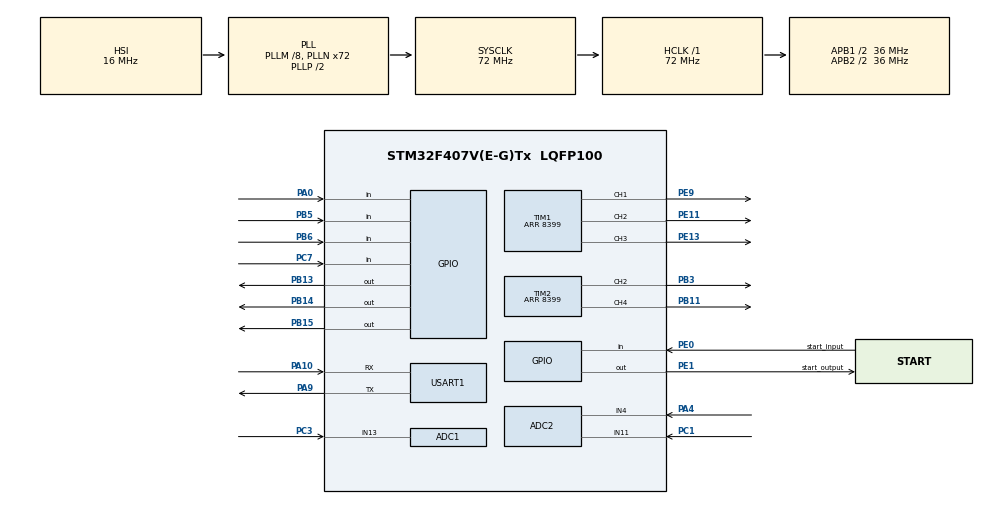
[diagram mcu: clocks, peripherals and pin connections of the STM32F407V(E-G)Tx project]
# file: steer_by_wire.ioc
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Mcu.Family=STM32F4
PH0-OSC_IN.Signal=RCC_OSC_IN
RCC.CortexFreq_Value=72000000
ADC2.SamplingTime-1\#ChannelRegularConversion=ADC_SAMPLETIME_3CYCLES
TIM2.Channel-PWM\ Generation2\ CH2=TIM_CHANNEL_2
PB11.Signal=S_TIM2_CH4
PB13.Signal=GPIO_Output
PB15.Signal=GPIO_Output
RCC.SYSCLKSource=RCC_SYSCLKSOURCE_PLLCLK
ProjectManager.StackSize=0x400
NVIC.ADC_IRQn=true\:0\:0\:false\:false\:true\:true\:true
RCC.HCLKFreq_Value=72000000
RCC.APB2TimFreq_Value=72000000
PB6.Signal=GPIO_Input
PC7.Signal=GPIO_Input
PC3.Signal=ADCx_IN13
PE1.Signal=GPIO_Output
RCC.AHBFreq_Value=72000000
PH0-OSC_IN.Mode=HSE-External-Oscillator
Dma.USART1_RX.0.Priority=DMA_PRIORITY_LOW
RCC.HSE_VALUE=25000000
PE13.Signal=S_TIM1_CH3
PC14-OSC32_IN.Mode=LSE-External-Oscillator
TIM1.Channel-PWM\ Generation1\ CH1=TIM_CHANNEL_1
PE9.Signal=S_TIM1_CH1
Dma.USART1_RX.0.MemInc=DMA_MINC_ENABLE
VP_TIM1_VS_ClockSourceINT.Mode=Internal
PH1-OSC_OUT.Mode=HSE-External-Oscillator
Mcu.Package=LQFP100
ADC2.Channel-1\#ChannelRegularConversion=ADC_CHANNEL_11
PA10.Signal=USART1_RX
PE0.GPIO_Label=start_input
Dma.USART1_RX.0.FIFOMode=DMA_FIFOMODE_DISABLE
RCC.APB2CLKDivider=RCC_HCLK_DIV2
NVIC.DMA2_Stream2_IRQn=true\:0\:0\:false\:false\:true\:false\:true
RCC.APB1TimFreq_Value=72000000
Dma.USART1_RX.0.Mode=DMA_CIRCULAR
TIM1.Period=8399
Dma.Request0=USART1_RX
Dma.USART1_RX.0.Instance=DMA2_Stream2
PC15-OSC32_OUT.Mode=LSE-External-Oscillator
TIM2.Channel-PWM\ Generation4\ CH4=TIM_CHANNEL_4
SH.ADCx_IN13.0=ADC1_IN13,IN13
Dma.USART1_RX.0.PeriphDataAlignment=DMA_PDATAALIGN_BYTE
PA10.Mode=Asynchronous
RCC.APB1CLKDivider=RCC_HCLK_DIV2
PC14-OSC32_IN.Signal=RCC_OSC32_IN
PA0-WKUP.Signal=GPIO_Input
TIM1.AutoReloadPreload=TIM_AUTORELOAD_PRELOAD_ENABLE
SH.S_TIM2_CH2.0=TIM2_CH2,PWM Generation2 CH2
PA9.Mode=Asynchronous
SH.S_TIM1_CH1.0=TIM1_CH1,PWM Generation1 CH1
ProjectManager.TargetToolchain=STM32CubeIDE
Dma.USART1_RX.0.Direction=DMA_PERIPH_TO_MEMORY
PA9.Signal=USART1_TX
TIM1.Channel-PWM\ Generation2\ CH2=TIM_CHANNEL_2
PE11.Signal=S_TIM1_CH2
PC15-OSC32_OUT.Signal=RCC_OSC32_OUT
Dma.USART1_RX.0.PeriphInc=DMA_PINC_DISABLE
PB14.Signal=GPIO_Output
board=custom
RCC.VCOOutputFreq_Value=144000000
PE1.GPIO_Label=start_output
RCC.APB2Freq_Value=36000000
SH.ADCx_IN11.1=ADC2_IN11,IN11
SH.ADCx_IN11.0=ADC1_IN11
SH.S_TIM1_CH2.0=TIM1_CH2,PWM Generation2 CH2
PH1-OSC_OUT.Signal=RCC_OSC_OUT
Dma.USART1_RX.0.MemDataAlignment=DMA_MDATAALIGN_BYTE
SH.ADCx_IN4.0=ADC2_IN4,IN4
TIM2.Period=8399
ADC1.Rank-9\#ChannelRegularConversion=1
PE0.Signal=GPIO_Input
Mcu.Name=STM32F407V(E-G)Tx
ADC1.Channel-9\#ChannelRegularConversion=ADC_CHANNEL_13
RCC.48MHZClocksFreq_Value=36000000
PB3.Signal=S_TIM2_CH2
PA4.Signal=ADCx_IN4
RCC.SYSCLKFreq_VALUE=72000000
PB5.Signal=GPIO_Input
ADC1.master=1
ADC2.NbrOfConversionFlag=1
USART1.VirtualMode=VM_ASYNC
ProjectManager.HeapSize=0x200
SH.S_TIM2_CH4.0=TIM2_CH4,PWM Generation4 CH4
SH.S_TIM1_CH3.0=TIM1_CH3,PWM Generation3 CH3
RCC.HSI_VALUE=16000000
NVIC.PriorityGroup=NVIC_PRIORITYGROUP_4
ADC1.NbrOfConversionFlag=1
RCC.PLLM=8
RCC.PLLN=72
ADC2.Rank-1\#ChannelRegularConversion=1
ADC1.SamplingTime-9\#ChannelRegularConversion=ADC_SAMPLETIME_3CYCLES
TIM1.Channel-PWM\ Generation3\ CH3=TIM_CHANNEL_3
RCC.APB1Freq_Value=36000000
PC1.Signal=ADCx_IN11

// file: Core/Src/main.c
/* USER CODE BEGIN Header */
/**
  ******************************************************************************
  * @file           : main.c
  * @brief          : Main program body
  ******************************************************************************
  * @attention
  *
  * <h2><center>&copy; Copyright (c) 2021 STMicroelectronics.
  * All rights reserved.</center></h2>
  *
  * This software component is licensed by ST under BSD 3-Clause license,
  * the "License"; You may not use this file except in compliance with the
  * License. You may obtain a copy of the License at:
  *                        opensource.org/licenses/BSD-3-Clause
  *
  ******************************************************************************
  */
/* USER CODE END Header */
#include "main.h"

/* USER CODE BEGIN Includes */

#include <stdio.h>
#include <stdlib.h>
#include <memory.h>
#include <string.h>
//#include "MY_NRF24.h"

/* USER CODE END Includes */

/* USER CODE BEGIN PD */

#define PID_KP  2.0f
#define PID_KI  0.5f
#define PID_KD  0.25f

#define PID_TAU 0.02f

#define PID_LIM_MIN   -1000.0f
#define PID_LIM_MAX   1000.0f

#define PID_LIM_MIN_T   0.0f
#define PID_LIM_MAX_T   1000.0f

#define PID_LIM_MIN_INT -5.0f
#define PID_LIM_MAX_INT  5.0f

#define SAMPLE_TIME_S 0.01f

typedef struct {

	/* Controller gains */
	float Kp;
	float Ki;
	float Kd;

	/* Derivative low-pass filter time constant */
	float tau;

	/* Output limits */
	float limMin;
	float limMax;

	/* Integrator limits */
	float limMinInt;
	float limMaxInt;

	/* Sample time (in seconds) */
	float T;

	/* Controller "memory" */
	float integrator;
	float prevError;			/* Required for integrator */
	float differentiator;
	float prevMeasurement;		/* Required for differentiator */

	/* Controller output */
	float out;

} PID;

uint8_t steer_package[2] = {0};
uint16_t motion_flag = 0;
uint16_t velocity_cmd = 0;
uint8_t crc_package[2] = {0};
volatile uint8_t  UART1_rxBuffer[12]  = {0};
volatile uint16_t adc_buffer[3] = {0};
uint16_t steer_cmd = 500;
uint16_t brake_cmd = 0;
uint16_t brake_medium_cmd = 625;

float pwm = 0;
float pwm_throttle =0;
uint16_t pwm_throttle_m =0;
uint16_t pwm_m = 0;
uint16_t pwm_m_brake = 0;
uint16_t current_pos = 0;
uint16_t current_brake_pos = 0;
uint8_t direction = 0;
uint16_t adc_val = 0;
uint16_t adc_thr = 0;
uint16_t adc_brake = 0;
uint8_t gear = 1; //1 ileri 0 geri
uint8_t brake = 0; //0 fren yok 1 var
uint16_t current_velocity = 0;

uint8_t flag_start = 0;
uint8_t flag_start_btn = 0;

GPIO_PinState state;
GPIO_PinState state1;
GPIO_PinState start;
GPIO_PinState start_button;
GPIO_PinState gear_manuel;
uint8_t rxdata[4] = {0};
uint8_t emergency_stop = 0;
uint8_t counter = 0;
uint16_t throttle = 0;
uint16_t forward_vel = 0;

/* USER CODE END PD */

ADC_HandleTypeDef hadc1;
ADC_HandleTypeDef hadc2;

TIM_HandleTypeDef htim1;
TIM_HandleTypeDef htim2;

UART_HandleTypeDef huart1;
DMA_HandleTypeDef hdma_usart1_rx;

void SystemClock_Config(void);
static void MX_GPIO_Init(void);
static void MX_DMA_Init(void);
static void MX_TIM1_Init(void);
static void MX_USART1_UART_Init(void);
static void MX_ADC2_Init(void);
static void MX_ADC1_Init(void);
static void MX_TIM2_Init(void);
/* USER CODE BEGIN PFP */

void drive_right(uint16_t pwm);
void drive_left(uint16_t pwm);
void brake_push(uint16_t pwm);
void brake_pull(uint16_t pwm);
long map(long x, long in_min, long in_max, long out_min, long out_max);
float PID_update(PID *pid, float setpoint, float measurement);
void PID_init(PID *pid);

/* USER CODE END PFP */

/* USER CODE BEGIN 0 */

/*
uint64_t RxpipeAddrs = 0x11223344AA;
char myRxData[2];
char myAckPayload[32] = "Ack by STMF7!";
char check[2] = {'G','S'};

*/

/* USER CODE END 0 */

int main(void)
{

  /* MCU Configuration--------------------------------------------------------*/

  /* Reset of all peripherals, Initializes the Flash interface and the Systick. */
  HAL_Init();

  /* Configure the system clock */
  SystemClock_Config();

  /* Initialize all configured peripherals */
  MX_GPIO_Init();
  MX_DMA_Init();
  MX_TIM1_Init();
  MX_USART1_UART_Init();
  MX_ADC2_Init();
  MX_ADC1_Init();
  MX_TIM2_Init();
  /* USER CODE BEGIN 2 */

  PID steer_control = { PID_KP, PID_KI, PID_KD, PID_TAU,PID_LIM_MIN, PID_LIM_MAX,PID_LIM_MIN_INT, PID_LIM_MAX_INT,SAMPLE_TIME_S };

  PID brake_control = { 2.0f, PID_KI, 0.25f, PID_TAU,PID_LIM_MIN, PID_LIM_MAX,PID_LIM_MIN_INT, PID_LIM_MAX_INT,SAMPLE_TIME_S };

  PID throttle_control = { PID_KP, PID_KI, PID_KD, PID_TAU,PID_LIM_MIN_T, PID_LIM_MAX_T,PID_LIM_MIN_INT, PID_LIM_MAX_INT,SAMPLE_TIME_S };

  PID_init(&steer_control);
  PID_init(&brake_control);
  PID_init(&throttle_control);

  //HAL_UART_Receive_DMA(&huart1, (uint8_t*)rx_buffer, 3);

  HAL_TIM_PWM_Start(&htim1, TIM_CHANNEL_1);
  HAL_TIM_PWM_Start(&htim1, TIM_CHANNEL_2);
  HAL_TIM_PWM_Start(&htim1, TIM_CHANNEL_3);

  HAL_TIM_PWM_Start(&htim2, TIM_CHANNEL_4);
  HAL_TIM_PWM_Start(&htim2, TIM_CHANNEL_2);
/* kablosuz haberlesme */

  /*  NRF24_begin(GPIOD, CSN_Pin, CE_Pin, hspi1);
	nrf24_DebugUART_Init(huart2);

	printRadioSettings();

	NRF24_setAutoAck(true);
	NRF24_setChannel(79);
	NRF24_setPayloadSize(32);
	NRF24_openReadingPipe(1, RxpipeAddrs);
	NRF24_enableDynamicPayloads();
	NRF24_enableAckPayload();

	NRF24_startListening();
*/

  /* USER CODE END 2 */

  /* Infinite loop */
  /* USER CODE BEGIN WHILE */

  if (counter == 0){

  		  counter = counter + 1;
  		  TIM1 -> CCR3 = 2290;
  		  HAL_Delay(6000);

  	  }

  HAL_UART_Receive_DMA (&huart1, UART1_rxBuffer, 12);
  //HAL_UART_Receive_IT(&huart2, rxdata, 4);

  ADC_ChannelConfTypeDef sConfig = {0};
  start = GPIO_PIN_RESET;

  while (1)
  {

	  //ADC den lineer potun okunuşu ve maplenişi
	  HAL_ADC_Start_IT(&hadc1);
	  HAL_ADC_Start_IT(&hadc2);
	  state1 = HAL_GPIO_ReadPin(GPIOE, GPIO_PIN_0);
	  //state1 = HAL_GPIO_ReadPin(GPIOB, GPIO_PIN_7);
	  //state = GPIO_PIN_RESET;
	  //state1 = GPIO_PIN_SET;
	  //HAL_UART_Transmit(&huart1, (uint16_t *)current_velocity, 2, 10); // alınan encoder verisi burada kontrol bilgisayarına iletiliyor.
//	  start_button = HAL_GPIO_ReadPin(GPIOE, GPIO_PIN_0);
//	  if( start_button == GPIO_PIN_RESET ){
//	 		  flag_start_btn = 1;
//	 		  if(flag_start == 0){
//	 		  start = GPIO_PIN_SET;}
//	 		  else {
//	 			  start = GPIO_PIN_RESET;
//	 		  }
//	 	  }
//	 	  else
//	 	  {
//	 		  if (flag_start_btn == 1)
//	 		  {
//	 			  if(flag_start == 0){ flag_start = 1;}
//	 			  else {flag_start = 0;}
//	 			  flag_start_btn = 0;
//	 		  }
//	 	  }
//	  HAL_GPIO_WritePin(GPIOE,GPIO_PIN_1,start);

	  current_pos = map(adc_val,495,3350,0,1000);
	  current_brake_pos = map(adc_brake,442,4096,0,1000);

	  //pwm update işleminin yapılması ve motorların buna göre sürülmesi

	  //kablosuzdan gelen dur ve git komutları
	  /*if(NRF24_available())
	  		{
	  			NRF24_read(myRxData, 32);
	  			NRF24_writeAckPayload(1, myAckPayload, 32);
	  			myRxData[32] = '\r';
	  			myRxData[32+1] = '\n';
	  			HAL_UART_Transmit(&huart2, (uint8_t *)myRxData, 32+2, 10);

	  			if(myRxData[0]==check[0]){
	  				uint8_t emergency_stop = 0;
	  			}
	  			else if(myRxData[0]==check[1]){
	  			    emergency_stop = 1;
	  				//HAL_GPIO_WritePin(GPIOB, GPIO_PIN_14,GPIO_PIN_SET);//frene bas
	  				//HAL_GPIO_WritePin(GPIOB, GPIO_PIN_13,GPIO_PIN_RESET);

	  				TIM1->CCR3 = 0;//gazı kes
	  			    TIM2->CCR1 = 8399;
	  				TIM2->CCR2 = 0;
	  				emergency_stop = 1;
	  				velocity_cmd = 0;
	  			}

	  		}*/

	  if(state1)
	  {
		  if(velocity_cmd == 0){

			  motion_flag = 0;
		  		  throttle = 2250;
		  		  TIM1->CCR3 = throttle;
		  		  //TIM2->CCR4 = 8399;

		  		  //buraya throttle için kullanacağın pwm i sıfırla aynı anda gaz fren yapılmaz :D
		  		  //HAL_GPIO_WritePin(GPIOB, GPIO_PIN_14,GPIO_PIN_SET);
		  		  //HAL_GPIO_WritePin(GPIOB, GPIO_PIN_13,GPIO_PIN_RESET);// brake aktüatörüne bağlı mosfeti aktif hale getirerek frene basılmasını sağla
		  		  TIM2->CCR4 = 0;
		  		  TIM2->CCR2 = 8399;
		  	  }

		  //HAL_UART_Receive_DMA (&huart1, UART1_rxBuffer, 12);
		  sConfig.Channel = ADC_CHANNEL_4;
		  		  	  sConfig.Rank = 1;
		  		  	  sConfig.SamplingTime = ADC_SAMPLETIME_3CYCLES;
		  		  	  if (HAL_ADC_ConfigChannel(&hadc2, &sConfig) != HAL_OK)
		  		  	  {
		  		  	    Error_Handler();
		  		  	  }

	  pwm = PID_update(&steer_control, steer_cmd, current_pos);

	  pwm_m = abs(pwm);

	  pwm_m = map(pwm_m,0,1000,0,8399);

	    	  if(pwm > 0){

	    		  drive_right(pwm_m);

	    	  }
	    	  else{

	    		  drive_left(pwm_m);

	    	  }

//	  pwm = PID_update(&brake_control, brake_cmd, current_brake_pos);
//
//	  pwm_m_brake = abs(pwm);
//
//	  pwm_m_brake = map(pwm_m_brake,0,1000,0,8399);
//
//	    	  if(pwm > 0){
//
//	    		  brake_push(pwm_m_brake);
//
//	    	  }
//	    	  else{
//
//	    		  brake_pull(pwm_m_brake);
//
//	    	  }

  	  forward_vel = parse_velocity_cmd(velocity_cmd);

	  }
	  if((emergency_stop!=1) & (state1 == 1) & velocity_cmd != 0){

		  //HAL_GPIO_WritePin(GPIOB, GPIO_PIN_14,GPIO_PIN_RESET);// brake i deaktive et
		  //HAL_GPIO_WritePin(GPIOB, GPIO_PIN_13,GPIO_PIN_SET);
		  //TIM2->CCR1 = 0;
		  //TIM2->CCR2 = 8399;
		  if(motion_flag < 48000)
		  {
		  	  brake_cmd = 0;
		  	  motion_flag += 1;
		  }
		  else{
			  brake_cmd = brake_medium_cmd;
		  }

		  	  pwm = PID_update(&brake_control, brake_cmd, current_brake_pos);

		  	  pwm_m_brake = abs(pwm);

		  	  pwm_m_brake = map(pwm_m_brake,0,1000,0,8399);

		  	    	  if(pwm > 0){

		  	    		  brake_push(pwm_m_brake);

		  	    	  }
		  	    	  else{

		  	    		  brake_pull(pwm_m_brake);

		  	    	  }

		  throttle = map(forward_vel, 13, 57, 3700, 8399);
		  //TIM1 -> CCR3 = 2290;
		  //HAL_Delay(3000);
		  TIM1->CCR3 = throttle;
		  //TIM2->CCR1 = 2000;
		  //TIM2->CCR2 = 0;

	  	  }
	  if(state1== 0){

		    TIM1->CCR2 = 0;
		  	TIM1->CCR1 = 0;

		  	brake_cmd = 200;
		  	pwm = PID_update(&brake_control, brake_cmd, current_brake_pos);

		  		  pwm_m_brake = abs(pwm);

		  		  pwm_m_brake = map(pwm_m_brake,0,1000,0,8399);

		  		    	  if(pwm > 0){

		  		    		  brake_push(pwm_m_brake);

		  		    	  }
		  		    	  else{

		  		    		  brake_pull(pwm_m_brake);

		  		    	  }

		  	if(current_brake_pos < 500){

		  	  sConfig.Channel = ADC_CHANNEL_11;
		  	  sConfig.Rank = 1;
		  	  sConfig.SamplingTime = ADC_SAMPLETIME_3CYCLES;
		  	}
		  	  if (HAL_ADC_ConfigChannel(&hadc2, &sConfig) != HAL_OK)
		  	  {
		  	    Error_Handler();
		  	  }

		  throttle=2240;

		  /*HAL_ADC_Start(&hadc3);
		  if(HAL_ADC_PollForConversion(&hadc3, 100000) == HAL_OK)
		  {
			  adc_thr = HAL_ADC_GetValue(&hadc3);
		  }
		  HAL_ADC_Stop(&hadc3);*/
		  gear_manuel = HAL_GPIO_ReadPin(GPIOC,GPIO_PIN_7);

		  if(gear_manuel == GPIO_PIN_SET){

			  HAL_GPIO_WritePin(GPIOE, GPIO_PIN_1,GPIO_PIN_RESET);
		  }
			  else{
				  HAL_GPIO_WritePin(GPIOE, GPIO_PIN_1,GPIO_PIN_SET);
			  }

		  pwm_m = 0;
		  throttle = map(adc_thr,0,4096,0,8399);
		  //throttle = 2250;

		  TIM1->CCR3 = throttle;
		  //TIM2->CCR1 = 8399;
		  //TIM2->CCR2 = 0;
		 // HAL_GPIO_WritePin(GPIOB, GPIO_PIN_14,GPIO_PIN_RESET);// brake i deaktive et
		 // HAL_GPIO_WritePin(GPIOB, GPIO_PIN_13,GPIO_PIN_SET);

	  }

    /* USER CODE END WHILE */

  }
}

void SystemClock_Config(void)
{
  RCC_OscInitTypeDef RCC_OscInitStruct = {0};
  RCC_ClkInitTypeDef RCC_ClkInitStruct = {0};

  /** Configure the main internal regulator output voltage
  */
  __HAL_RCC_PWR_CLK_ENABLE();
  __HAL_PWR_VOLTAGESCALING_CONFIG(PWR_REGULATOR_VOLTAGE_SCALE1);
  /** Initializes the RCC Oscillators according to the specified parameters
  * in the RCC_OscInitTypeDef structure.
  */
  RCC_OscInitStruct.OscillatorType = RCC_OSCILLATORTYPE_HSI;
  RCC_OscInitStruct.HSIState = RCC_HSI_ON;
  RCC_OscInitStruct.HSICalibrationValue = RCC_HSICALIBRATION_DEFAULT;
  RCC_OscInitStruct.PLL.PLLState = RCC_PLL_ON;
  RCC_OscInitStruct.PLL.PLLSource = RCC_PLLSOURCE_HSI;
  RCC_OscInitStruct.PLL.PLLM = 8;
  RCC_OscInitStruct.PLL.PLLN = 72;
  RCC_OscInitStruct.PLL.PLLP = RCC_PLLP_DIV2;
  RCC_OscInitStruct.PLL.PLLQ = 4;
  if (HAL_RCC_OscConfig(&RCC_OscInitStruct) != HAL_OK)
  {
    Error_Handler();
  }
  /** Initializes the CPU, AHB and APB buses clocks
  */
  RCC_ClkInitStruct.ClockType = RCC_CLOCKTYPE_HCLK|RCC_CLOCKTYPE_SYSCLK
                              |RCC_CLOCKTYPE_PCLK1|RCC_CLOCKTYPE_PCLK2;
  RCC_ClkInitStruct.SYSCLKSource = RCC_SYSCLKSOURCE_PLLCLK;
  RCC_ClkInitStruct.AHBCLKDivider = RCC_SYSCLK_DIV1;
  RCC_ClkInitStruct.APB1CLKDivider = RCC_HCLK_DIV2;
  RCC_ClkInitStruct.APB2CLKDivider = RCC_HCLK_DIV2;

  if (HAL_RCC_ClockConfig(&RCC_ClkInitStruct, FLASH_LATENCY_2) != HAL_OK)
  {
    Error_Handler();
  }
}

static void MX_ADC1_Init(void)
{

  ADC_ChannelConfTypeDef sConfig = {0};

  /** Configure the global features of the ADC (Clock, Resolution, Data Alignment and number of conversion)
  */
  hadc1.Instance = ADC1;
  hadc1.Init.ClockPrescaler = ADC_CLOCK_SYNC_PCLK_DIV2;
  hadc1.Init.Resolution = ADC_RESOLUTION_12B;
  hadc1.Init.ScanConvMode = DISABLE;
  hadc1.Init.ContinuousConvMode = DISABLE;
  hadc1.Init.DiscontinuousConvMode = DISABLE;
  hadc1.Init.ExternalTrigConvEdge = ADC_EXTERNALTRIGCONVEDGE_NONE;
  hadc1.Init.ExternalTrigConv = ADC_SOFTWARE_START;
  hadc1.Init.DataAlign = ADC_DATAALIGN_RIGHT;
  hadc1.Init.NbrOfConversion = 1;
  hadc1.Init.DMAContinuousRequests = DISABLE;
  hadc1.Init.EOCSelection = ADC_EOC_SINGLE_CONV;
  if (HAL_ADC_Init(&hadc1) != HAL_OK)
  {
    Error_Handler();
  }
  /** Configure for the selected ADC regular channel its corresponding rank in the sequencer and its sample time.
  */
  sConfig.Channel = ADC_CHANNEL_13;
  sConfig.Rank = 1;
  sConfig.SamplingTime = ADC_SAMPLETIME_3CYCLES;
  if (HAL_ADC_ConfigChannel(&hadc1, &sConfig) != HAL_OK)
  {
    Error_Handler();
  }

}

static void MX_ADC2_Init(void)
{

  ADC_ChannelConfTypeDef sConfig = {0};

  /** Configure the global features of the ADC (Clock, Resolution, Data Alignment and number of conversion)
  */
  hadc2.Instance = ADC2;
  hadc2.Init.ClockPrescaler = ADC_CLOCK_SYNC_PCLK_DIV2;
  hadc2.Init.Resolution = ADC_RESOLUTION_12B;
  hadc2.Init.ScanConvMode = DISABLE;
  hadc2.Init.ContinuousConvMode = DISABLE;
  hadc2.Init.DiscontinuousConvMode = DISABLE;
  hadc2.Init.ExternalTrigConvEdge = ADC_EXTERNALTRIGCONVEDGE_NONE;
  hadc2.Init.ExternalTrigConv = ADC_SOFTWARE_START;
  hadc2.Init.DataAlign = ADC_DATAALIGN_RIGHT;
  hadc2.Init.NbrOfConversion = 1;
  hadc2.Init.DMAContinuousRequests = DISABLE;
  hadc2.Init.EOCSelection = ADC_EOC_SINGLE_CONV;
  if (HAL_ADC_Init(&hadc2) != HAL_OK)
  {
    Error_Handler();
  }
  /** Configure for the selected ADC regular channel its corresponding rank in the sequencer and its sample time.
  */
  sConfig.Channel = ADC_CHANNEL_11;
  sConfig.Rank = 1;
  sConfig.SamplingTime = ADC_SAMPLETIME_3CYCLES;
  if (HAL_ADC_ConfigChannel(&hadc2, &sConfig) != HAL_OK)
  {
    Error_Handler();
  }

}

static void MX_TIM1_Init(void)
{

  TIM_ClockConfigTypeDef sClockSourceConfig = {0};
  TIM_MasterConfigTypeDef sMasterConfig = {0};
  TIM_OC_InitTypeDef sConfigOC = {0};
  TIM_BreakDeadTimeConfigTypeDef sBreakDeadTimeConfig = {0};

  htim1.Instance = TIM1;
  htim1.Init.Prescaler = 0;
  htim1.Init.CounterMode = TIM_COUNTERMODE_UP;
  htim1.Init.Period = 8399;
  htim1.Init.ClockDivision = TIM_CLOCKDIVISION_DIV1;
  htim1.Init.RepetitionCounter = 0;
  htim1.Init.AutoReloadPreload = TIM_AUTORELOAD_PRELOAD_ENABLE;
  if (HAL_TIM_Base_Init(&htim1) != HAL_OK)
  {
    Error_Handler();
  }
  sClockSourceConfig.ClockSource = TIM_CLOCKSOURCE_INTERNAL;
  if (HAL_TIM_ConfigClockSource(&htim1, &sClockSourceConfig) != HAL_OK)
  {
    Error_Handler();
  }
  if (HAL_TIM_PWM_Init(&htim1) != HAL_OK)
  {
    Error_Handler();
  }
  sMasterConfig.MasterOutputTrigger = TIM_TRGO_RESET;
  sMasterConfig.MasterSlaveMode = TIM_MASTERSLAVEMODE_DISABLE;
  if (HAL_TIMEx_MasterConfigSynchronization(&htim1, &sMasterConfig) != HAL_OK)
  {
    Error_Handler();
  }
  sConfigOC.OCMode = TIM_OCMODE_PWM1;
  sConfigOC.Pulse = 0;
  sConfigOC.OCPolarity = TIM_OCPOLARITY_HIGH;
  sConfigOC.OCNPolarity = TIM_OCNPOLARITY_HIGH;
  sConfigOC.OCFastMode = TIM_OCFAST_DISABLE;
  sConfigOC.OCIdleState = TIM_OCIDLESTATE_RESET;
  sConfigOC.OCNIdleState = TIM_OCNIDLESTATE_RESET;
  if (HAL_TIM_PWM_ConfigChannel(&htim1, &sConfigOC, TIM_CHANNEL_1) != HAL_OK)
  {
    Error_Handler();
  }
  if (HAL_TIM_PWM_ConfigChannel(&htim1, &sConfigOC, TIM_CHANNEL_2) != HAL_OK)
  {
    Error_Handler();
  }
  if (HAL_TIM_PWM_ConfigChannel(&htim1, &sConfigOC, TIM_CHANNEL_3) != HAL_OK)
  {
    Error_Handler();
  }
  sBreakDeadTimeConfig.OffStateRunMode = TIM_OSSR_DISABLE;
  sBreakDeadTimeConfig.OffStateIDLEMode = TIM_OSSI_DISABLE;
  sBreakDeadTimeConfig.LockLevel = TIM_LOCKLEVEL_OFF;
  sBreakDeadTimeConfig.DeadTime = 0;
  sBreakDeadTimeConfig.BreakState = TIM_BREAK_DISABLE;
  sBreakDeadTimeConfig.BreakPolarity = TIM_BREAKPOLARITY_HIGH;
  sBreakDeadTimeConfig.AutomaticOutput = TIM_AUTOMATICOUTPUT_DISABLE;
  if (HAL_TIMEx_ConfigBreakDeadTime(&htim1, &sBreakDeadTimeConfig) != HAL_OK)
  {
    Error_Handler();
  }
  HAL_TIM_MspPostInit(&htim1);

}

static void MX_TIM2_Init(void)
{

  TIM_MasterConfigTypeDef sMasterConfig = {0};
  TIM_OC_InitTypeDef sConfigOC = {0};

  htim2.Instance = TIM2;
  htim2.Init.Prescaler = 0;
  htim2.Init.CounterMode = TIM_COUNTERMODE_UP;
  htim2.Init.Period = 8399;
  htim2.Init.ClockDivision = TIM_CLOCKDIVISION_DIV1;
  htim2.Init.AutoReloadPreload = TIM_AUTORELOAD_PRELOAD_DISABLE;
  if (HAL_TIM_PWM_Init(&htim2) != HAL_OK)
  {
    Error_Handler();
  }
  sMasterConfig.MasterOutputTrigger = TIM_TRGO_RESET;
  sMasterConfig.MasterSlaveMode = TIM_MASTERSLAVEMODE_DISABLE;
  if (HAL_TIMEx_MasterConfigSynchronization(&htim2, &sMasterConfig) != HAL_OK)
  {
    Error_Handler();
  }
  sConfigOC.OCMode = TIM_OCMODE_PWM1;
  sConfigOC.Pulse = 0;
  sConfigOC.OCPolarity = TIM_OCPOLARITY_HIGH;
  sConfigOC.OCFastMode = TIM_OCFAST_DISABLE;
  if (HAL_TIM_PWM_ConfigChannel(&htim2, &sConfigOC, TIM_CHANNEL_2) != HAL_OK)
  {
    Error_Handler();
  }
  if (HAL_TIM_PWM_ConfigChannel(&htim2, &sConfigOC, TIM_CHANNEL_4) != HAL_OK)
  {
    Error_Handler();
  }
  HAL_TIM_MspPostInit(&htim2);

}

static void MX_USART1_UART_Init(void)
{

  huart1.Instance = USART1;
  huart1.Init.BaudRate = 115200;
  huart1.Init.WordLength = UART_WORDLENGTH_8B;
  huart1.Init.StopBits = UART_STOPBITS_1;
  huart1.Init.Parity = UART_PARITY_NONE;
  huart1.Init.Mode = UART_MODE_TX_RX;
  huart1.Init.HwFlowCtl = UART_HWCONTROL_NONE;
  huart1.Init.OverSampling = UART_OVERSAMPLING_16;
  if (HAL_UART_Init(&huart1) != HAL_OK)
  {
    Error_Handler();
  }

}

static void MX_DMA_Init(void)
{

  /* DMA controller clock enable */
  __HAL_RCC_DMA2_CLK_ENABLE();

  /* DMA interrupt init */
  /* DMA2_Stream2_IRQn interrupt configuration */
  HAL_NVIC_SetPriority(DMA2_Stream2_IRQn, 0, 0);
  HAL_NVIC_EnableIRQ(DMA2_Stream2_IRQn);

}

static void MX_GPIO_Init(void)
{
  GPIO_InitTypeDef GPIO_InitStruct = {0};

  /* GPIO Ports Clock Enable */
  __HAL_RCC_GPIOC_CLK_ENABLE();
  __HAL_RCC_GPIOH_CLK_ENABLE();
  __HAL_RCC_GPIOA_CLK_ENABLE();
  __HAL_RCC_GPIOE_CLK_ENABLE();
  __HAL_RCC_GPIOB_CLK_ENABLE();

  /*Configure GPIO pin Output Level */
  HAL_GPIO_WritePin(GPIOB, GPIO_PIN_13|GPIO_PIN_14|GPIO_PIN_15, GPIO_PIN_RESET);

  /*Configure GPIO pin Output Level */
  HAL_GPIO_WritePin(start_output_GPIO_Port, start_output_Pin, GPIO_PIN_RESET);

  /*Configure GPIO pin : PA0 */
  GPIO_InitStruct.Pin = GPIO_PIN_0;
  GPIO_InitStruct.Mode = GPIO_MODE_INPUT;
  GPIO_InitStruct.Pull = GPIO_NOPULL;
  HAL_GPIO_Init(GPIOA, &GPIO_InitStruct);

  /*Configure GPIO pins : PB13 PB14 PB15 */
  GPIO_InitStruct.Pin = GPIO_PIN_13|GPIO_PIN_14|GPIO_PIN_15;
  GPIO_InitStruct.Mode = GPIO_MODE_OUTPUT_PP;
  GPIO_InitStruct.Pull = GPIO_NOPULL;
  GPIO_InitStruct.Speed = GPIO_SPEED_FREQ_LOW;
  HAL_GPIO_Init(GPIOB, &GPIO_InitStruct);

  /*Configure GPIO pin : PC7 */
  GPIO_InitStruct.Pin = GPIO_PIN_7;
  GPIO_InitStruct.Mode = GPIO_MODE_INPUT;
  GPIO_InitStruct.Pull = GPIO_NOPULL;
  HAL_GPIO_Init(GPIOC, &GPIO_InitStruct);

  /*Configure GPIO pins : PB5 PB6 */
  GPIO_InitStruct.Pin = GPIO_PIN_5|GPIO_PIN_6;
  GPIO_InitStruct.Mode = GPIO_MODE_INPUT;
  GPIO_InitStruct.Pull = GPIO_NOPULL;
  HAL_GPIO_Init(GPIOB, &GPIO_InitStruct);

  /*Configure GPIO pin : start_input_Pin */
  GPIO_InitStruct.Pin = start_input_Pin;
  GPIO_InitStruct.Mode = GPIO_MODE_INPUT;
  GPIO_InitStruct.Pull = GPIO_NOPULL;
  HAL_GPIO_Init(start_input_GPIO_Port, &GPIO_InitStruct);

  /*Configure GPIO pin : start_output_Pin */
  GPIO_InitStruct.Pin = start_output_Pin;
  GPIO_InitStruct.Mode = GPIO_MODE_OUTPUT_PP;
  GPIO_InitStruct.Pull = GPIO_NOPULL;
  GPIO_InitStruct.Speed = GPIO_SPEED_FREQ_LOW;
  HAL_GPIO_Init(start_output_GPIO_Port, &GPIO_InitStruct);

}

/* USER CODE BEGIN 4 */
void drive_right(uint16_t pwm){

	/*HAL_GPIO_WritePin(GPIOB, GPIO_PIN_14,GPIO_PIN_SET);
	HAL_GPIO_WritePin(GPIOB, GPIO_PIN_15,GPIO_PIN_SET);//sağa sürmek için gerekli yünün enable ını high olan pine bağla*/
	TIM1->CCR2 = 0;
	TIM1->CCR1 = pwm;

	//gerekli yönün pwm pinine bağla

}

void drive_left(uint16_t pwm){

	/*HAL_GPIO_WritePin(GPIOB, GPIO_PIN_14,GPIO_PIN_SET);
	HAL_GPIO_WritePin(GPIOB, GPIO_PIN_15,GPIO_PIN_SET);*/
	TIM1->CCR1=0;
	TIM1->CCR2 = pwm;

	//gerekli yönün pwm pinine bağla
}

void brake_push(uint16_t pwm){

	TIM2->CCR4 = 0;
	TIM2->CCR2 = pwm;

	//gerekli yönün pwm pinine bağla

}

void brake_pull(uint16_t pwm){

	TIM2->CCR2 = 0;
	TIM2->CCR4 = pwm;

	//gerekli yönün pwm pinine bağla
}

long map(long x, long in_min, long in_max, long out_min, long out_max) {
  return (x - in_min) * (out_max - out_min) / (in_max - in_min) + out_min;
}

/*void HAL_ADC_ConvCpltCallback(ADC_HandleTypeDef* hadc)
{
  current_pos = adc_buffer[1];
}*/

float PID_update(PID *pid, float setpoint, float measurement){

	float error = setpoint - measurement;

		/*
		* Proportional
		*/
	    float proportional = pid->Kp * error;

		/*
		* Integral
		*/
	    pid->integrator = pid->integrator + 0.5f * pid->Ki * pid->T * (error + pid->prevError);

		/* Anti-wind-up via integrator clamping */
	    if (pid->integrator > pid->limMaxInt) {

	        pid->integrator = pid->limMaxInt;

	    } else if (pid->integrator < pid->limMinInt) {

	        pid->integrator = pid->limMinInt;

	    }

		/*
		* Derivative (band-limited differentiator)
		*/

	    pid->differentiator = -(2.0f * pid->Kd * (measurement - pid->prevMeasurement)	/* Note: derivative on measurement, therefore minus sign in front of equation! */
	                        + (2.0f * pid->tau - pid->T) * pid->differentiator)
	                        / (2.0f * pid->tau + pid->T);

		/*
		* Compute output and apply limits
		*/
	    pid->out = proportional + pid->integrator + pid->differentiator;

	    if (pid->out > pid->limMax) {

	        pid->out = pid->limMax;

	    } else if (pid->out < pid->limMin) {

	        pid->out = pid->limMin;

	    }

		/* Store error and measurement for later use */
	    pid->prevError       = error;
	    pid->prevMeasurement = measurement;

		/* Return controller output */
	    return pid->out;

}

void PID_init(PID *pid){

	pid->integrator = 0.0f;
	pid->prevError  = 0.0f;

	pid->differentiator  = 0.0f;
	pid->prevMeasurement = 0.0f;

	pid->out = 0.0f;

}

void HAL_ADC_ConvCpltCallback(ADC_HandleTypeDef* hadc)
{

	if(state1 == 1)
	{

		adc_brake = HAL_ADC_GetValue(&hadc1);
		if(adc_brake <= 442){
			adc_brake = 442;
		}
		else if (adc_brake >3714){
			adc_brake = 3714;
		}

		adc_val = HAL_ADC_GetValue(&hadc2);

	if (adc_val < 495){
		adc_val = 495;
	}
	else if (adc_val > 3350)
	{
		adc_val = 3350;
	}
	}
	else{
		adc_thr = HAL_ADC_GetValue(&hadc2);
	}
	//HAL_ADC_Start_IT(&hadc2);
}

void HAL_UART_RxCpltCallback(UART_HandleTypeDef *huart)
{
	for(int i=0;i<12;i++){

		if((rxdata[0]==10) & (rxdata[1]==20) & (rxdata[2]==30) & (rxdata[3]==40)){

			//HAL_GPIO_WritePin(GPIOB, GPIO_PIN_14,GPIO_PIN_SET);//frene bas
			//HAL_GPIO_WritePin(GPIOB, GPIO_PIN_13,GPIO_PIN_RESET);

			TIM1->CCR3 = 0;//gazı kes
			TIM2->CCR4 = 0;
			TIM2->CCR2 = 8399;

			emergency_stop = 1;
			velocity_cmd = 0;

		}

		if((UART1_rxBuffer[i] == 77) & (12-i > 5) & (emergency_stop!=1) & (state1 == 1)){

						steer_package[0] = UART1_rxBuffer[i+1];
						steer_package[1] = UART1_rxBuffer[i+2];
						velocity_cmd = UART1_rxBuffer[i+3];
						//direction = UART1_rxBuffer[i+4];
						brake_medium_cmd = 5*UART1_rxBuffer[i+4];
						crc_package[1] = UART1_rxBuffer[i+5];

						steer_cmd = steer_package[0]<<8|steer_package[1];

						//memset(UART1_rxBuffer,0,sizeof(UART1_rxBuffer));
						if(brake_medium_cmd > 1000) { brake_medium_cmd = 1000; }

						return;
					}
					else{

						//velocity_cmd = 0;

					}

		}

	//HAL_UART_Receive_DMA (&huart1, UART1_rxBuffer, 12);
}

int parse_velocity_cmd(velocity_cmd){ // bu fonksiyon vitesi ayarlamak için

	if(velocity_cmd > 20){

		velocity_cmd = velocity_cmd - 20;					  //0-20 arası ileri 20-30 arası ise geridir.

											//gelen komut bu şekilde parse edilerek gidilmek istenen yön ayarlanır

		if(state1){
		HAL_GPIO_WritePin(GPIOE, GPIO_PIN_1,GPIO_PIN_RESET);    //vitesin anahtarlamasını 0 a çekerek aracın vitesini geriye alırız
	}
	}
	else{
		//eğer velocity_cmd 0 ise fren köklenecek yoksa pid algoritması ile sürüşe devam edilecek
		if(state1){
			HAL_GPIO_WritePin(GPIOE, GPIO_PIN_1,GPIO_PIN_SET);
		}  //0-20 arasına denk geldi ise ileri olacağından aracın vites mosfeti de-aktifleştirilerek 12v lar virleşir ve vites ileri alınır.
		if (velocity_cmd > 20){
					velocity_cmd = 20;
				}
	}
	return velocity_cmd;
}

void accelerate(pwm_m_throttle){//bu fonksiyon gaza basılarak arabanın hızlanmasını sağlar

	TIM1->CCR3 = pwm_m_throttle;

}

/* USER CODE END 4 */

void Error_Handler(void)
{
  __disable_irq();
  while (1)
  {
  }
}

/************************ (C) COPYRIGHT STMicroelectronics *****END OF FILE****/
